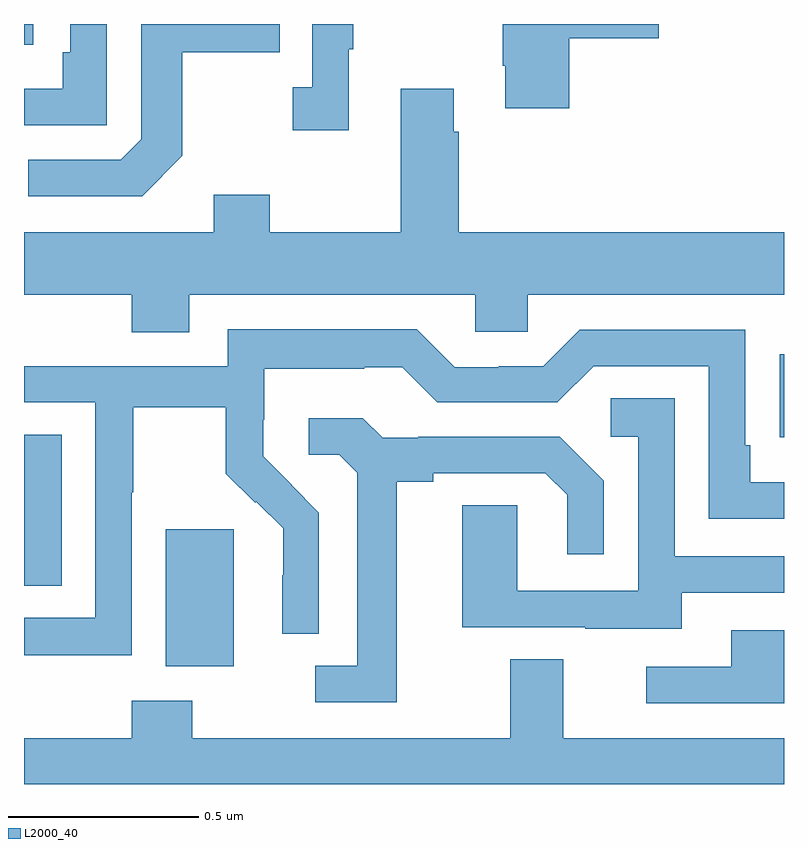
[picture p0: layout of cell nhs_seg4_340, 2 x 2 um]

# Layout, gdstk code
import gdstk
lib = gdstk.Library(unit=1e-6, precision=1e-09)
def R(c, l, rs):  # rectangles x0, y0, x1, y1
    for r in rs: c.add(gdstk.rectangle(r[:2], r[2:], *l))
def P(c, l, *ps):  # polygons
    for p in ps: c.add(gdstk.Polygon(p, *l))
L2000_40 = (2000, 40)

nhs_seg4_340 = lib.new_cell('nhs_seg4_340')
R(nhs_seg4_340, L2000_40, [(115.373,761.21,115.552,761.571), (115,761.422,115.099,761.819), (116.989,761.812,117,762.031), (115,762.846,115.024,762.9)])
P(nhs_seg4_340, L2000_40, [(115.855,762.833),(115.867,762.833),(115.867,762.9),(115.758,762.9),(115.758,762.734),(115.707,762.734),(115.707,762.621),(115.855,762.621)],
  [(116.435,762.863),(116.671,762.863),(116.671,762.9),(116.26,762.9),(116.26,762.79),(116.267,762.79),(116.267,762.678),(116.435,762.678)],
  [(115.218,762.9),(115.122,762.9),(115.122,762.826),(115.102,762.826),(115.102,762.729),(115,762.729),(115,762.633),(115.218,762.633)],
  [(115.417,762.553),(115.417,762.826),(115.673,762.826),(115.673,762.9),(115.308,762.9),(115.308,762.597),(115.254,762.543),(115.011,762.543),(115.011,762.447),(115.311,762.447)],
  [(115.435,762.188),(116.187,762.188),(116.187,762.09),(116.325,762.09),(116.325,762.188),(117,762.188),(117,762.352),(116.144,762.352),(116.144,762.617),(116.131,762.617),(116.131,762.73),(115.991,762.73),(115.991,762.352),(115.647,762.352),(115.647,762.451),(115.499,762.451),(115.499,762.352),(115,762.352),(115,762.188),(115.283,762.188),(115.283,762.089),(115.435,762.089)],
  [(115.284,761.668),(115.287,761.668),(115.287,761.892),(115.531,761.892),(115.531,761.717),(115.608,761.64),(115.611,761.643),(115.682,761.573),(115.682,761.45),(115.68,761.45),(115.68,761.296),(115.776,761.296),(115.776,761.614),(115.703,761.687),(115.704,761.688),(115.63,761.762),(115.63,761.859),(115.632,761.859),(115.632,761.993),(115.895,761.993),(115.895,761.997),(115.995,761.997),(116.088,761.904),(116.403,761.904),(116.499,762),(116.802,762),(116.802,761.598),(117,761.598),(117,761.694),(116.911,761.694),(116.911,761.791),(116.898,761.791),(116.898,762.096),(116.463,762.096),(116.367,762),(116.249,762),(116.249,761.997),(116.133,761.997),(116.033,762.097),(115.536,762.097),(115.536,762),(115,762),(115,761.904),(115.188,761.904),(115.188,761.337),(115,761.337),(115,761.239),(115.284,761.239)],
  [(116.731,761.403),(117,761.403),(117,761.499),(116.712,761.499),(116.712,761.915),(116.544,761.915),(116.544,761.814),(116.616,761.814),(116.616,761.409),(116.298,761.409),(116.298,761.633),(116.153,761.633),(116.153,761.313),(116.477,761.313),(116.477,761.309),(116.731,761.309)],
  [(115.981,761.696),(116.077,761.696),(116.077,761.718),(116.372,761.718),(116.429,761.661),(116.429,761.505),(116.526,761.505),(116.526,761.698),(116.41,761.814),(116.038,761.814),(116.038,761.811),(115.944,761.811),(115.892,761.863),(115.749,761.863),(115.749,761.766),(115.83,761.766),(115.877,761.719),(115.877,761.211),(115.767,761.211),(115.767,761.115),(115.981,761.115)],
  [(117,761.304),(116.861,761.304),(116.861,761.208),(116.637,761.208),(116.637,761.112),(117,761.112)],
  [(117,761.02),(116.419,761.02),(116.419,761.228),(116.279,761.228),(116.279,761.02),(115.443,761.02),(115.443,761.119),(115.283,761.119),(115.283,761.02),(115,761.02),(115,760.9),(117,760.9)])

lib.write_gds('nhs_seg4_340.gds')
